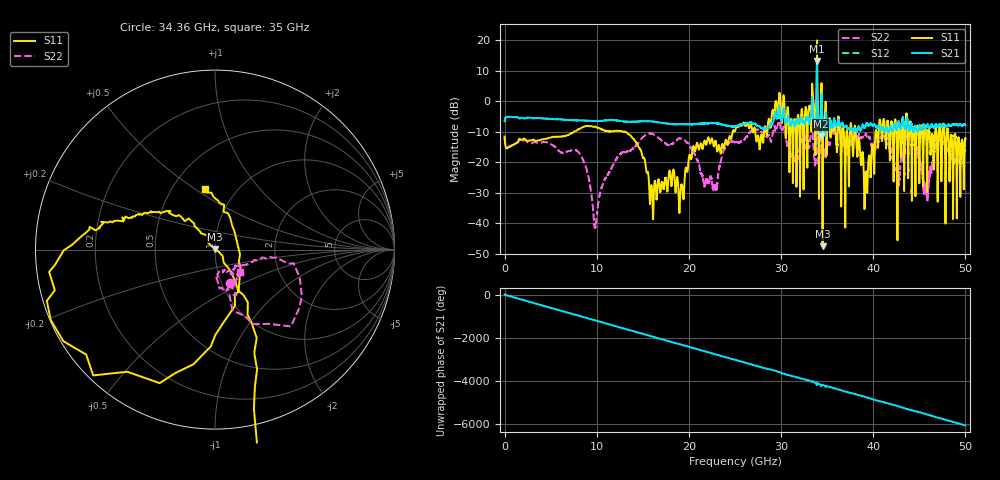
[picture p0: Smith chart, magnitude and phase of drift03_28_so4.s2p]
!Created with skrf (http://scikit-rf.org).
# Hz S RI R 50.0
!freq ReS11 ImS11 ReS21 ImS21 ReS12 ImS12 ReS22 ImS22
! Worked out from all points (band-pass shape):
!   10001 points, 300 kHz to 50 GHz, reference 50 ohm
!   highest |S21| = 13.28 dB at 33.9 GHz (marker M1); lowest = -11.5 dB at 34.32 GHz (marker M2)
!   |S21| within 3 dB of the highest: 33.88999 GHz to 33.9048 GHz (14.82 MHz wide, 0.0437 % of centre)
!   lowest |S11| = -47.4 dB at 34.5 GHz (marker M3), VSWR 1.01, Z = 49.9 + j0.403 ohm
!   |S11| at or under -10 dB: start of sweep to 7.486 GHz; 13.14 GHz to 24.74 GHz (11.6 GHz wide, 61.3 % of centre); 38.09 GHz to 40.26 GHz (2.168 GHz wide, 5.53 % of centre) (the widest 3 of 47)
!   |S22| runs from -41.5 to 5.7 dB; largest |S21 - S12| = 0.34
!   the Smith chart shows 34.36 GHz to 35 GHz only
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300000  -0.2363 -0.1218  0.4652 0.0799  0.4634 0.0815  -0.2312 -0.1259
1.440291e9  0.21 0.0649  -0.5475 -0.0291  -0.548 -0.029  0.2114 -0.00441
2.915283e9  -0.212 -0.088  0.5345 0.051  0.5345 0.0511  -0.2025 0.0402
4.415274e9  0.2064 0.1322  -0.5218 -0.0415  -0.5217 -0.0419  0.1978 -0.0873
8.33525e9  0.2883 -0.2335  0.1467 0.4658  0.1466 0.4659  -0.0727 -0.1008
9.845241e9  -0.3634 0.1294  -0.1488 -0.4525  -0.149 -0.452  0.00854 0.00258
1.115523e10  0.3174 0.0806  -0.0433 0.4909  -0.043 0.4912  -0.048 0.0382
1.263522e10  -0.312 -0.0941  0.0291 -0.4735  0.0291 -0.4751  0.0764 -0.118
1.66702e10  0.0271 0.044  -0.3771 0.254  -0.3779 0.2544  -0.1273 -0.2188
1.787019e10  0.0678 -0.0248  0.429 0.0155  0.428 0.0155  -0.0384 0.1913
2.281016e10  0.00213 0.2144  -0.2813 0.3432  -0.2818 0.3441  -0.0329 0.0271
2.500015e10  -0.3263 -0.0144  -0.2564 -0.2954  -0.2548 -0.2976  -0.2139 0.0283
2.895013e10  -0.3202 0.4224  -0.2911 0.3251  -0.303 0.2888  0.0623 0.2196
3.006512e10  0.4008 0.265  0.4488 -0.1981  0.4516 -0.1852  0.1728 -0.2986
3.171011e10  -0.09 0.1884  -0.3589 0.3581  -0.3601 0.3557  0.0663 0.1592
3.33351e10  0.6101 -0.7794  0.2575 -0.8285  0.2547 -0.8084  -0.1837 -0.4165
3.38951e10  -2.752 -9.589  -4.52 0.9333  -4.225 1.111  0.5616 1.842
3.432009e10  -0.779 0.000274  -0.1796 0.1982  -0.2416 0.1786  0.1434 -0.0723
3.450009e10  -0.00133 0.00404  -0.4466 0.2952  -0.4149 0.2757  0.1912 -0.0768
3.919506e10  0.0678 0.0139  0.2026 -0.3599  0.2084 -0.3508  -0.2695 -0.1204
4.167005e10  -0.1986 0.3048  0.3131 0.00229  0.3143 0.00975  -0.1919 -0.00885
5e10  -0.1184 -0.2182  0.1438 0.3827  0.1454 0.3808  -0.0555 -0.1446
